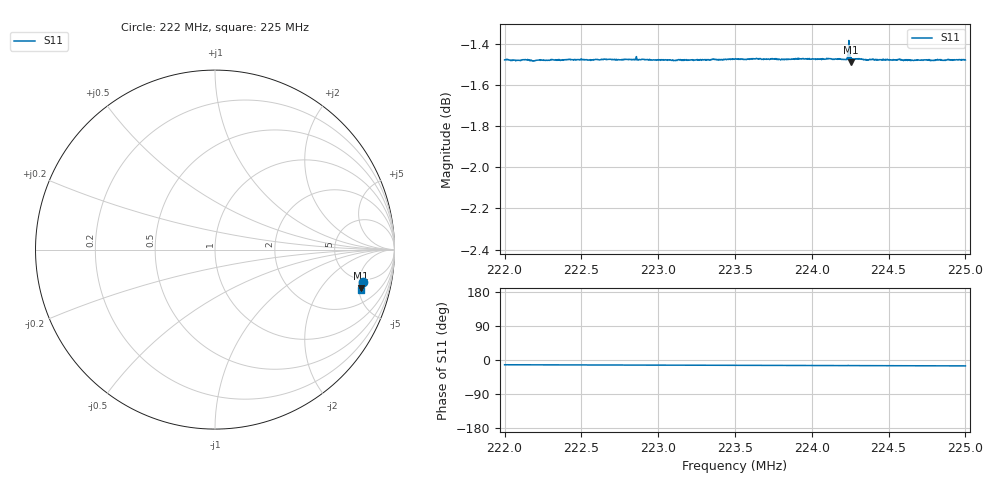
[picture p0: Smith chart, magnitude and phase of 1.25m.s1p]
! Calibrated averaged scanner-service zoom
# Hz S RI R 50
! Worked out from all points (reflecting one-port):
!   1001 points, 222 MHz to 225 MHz, reference 50 ohm
!   lowest |S11| = -1.5 dB at 224.25 MHz (marker M1), VSWR 11.70, Z = 179 - j266 ohm
!   phase of S11 starts at -13 deg and turns -3 deg over the sweep
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2.22e8  0.8234 -0.1832
2.22039e8  0.8232 -0.1831
2.22087e8  0.8229 -0.1845
2.22135e8  0.8232 -0.1849
2.2218e8  0.8224 -0.1859
2.22225e8  0.8228 -0.186
2.2227e8  0.8223 -0.1875
2.22375e8  0.822 -0.1887
2.22555e8  0.8216 -0.1913
2.22645e8  0.8217 -0.1923
2.2275e8  0.8209 -0.1944
2.22843e8  0.821 -0.1955
2.23125e8  0.8195 -0.1993
2.23275e8  0.8194 -0.2011
2.235e8  0.8188 -0.2046
2.23875e8  0.8174 -0.2099
2.24109e8  0.8167 -0.2133
2.24214e8  0.816 -0.2146
2.24223e8  0.8159 -0.2148
2.24226e8  0.816 -0.2149
2.24232e8  0.8171 -0.2153
2.2425e8  0.8161 -0.2153
2.24253e8  0.8144 -0.2158
2.24256e8  0.8168 -0.2152
2.24259e8  0.8159 -0.2155
2.24268e8  0.8161 -0.2154
2.24625e8  0.8141 -0.2206
2.25e8  0.8127 -0.226
